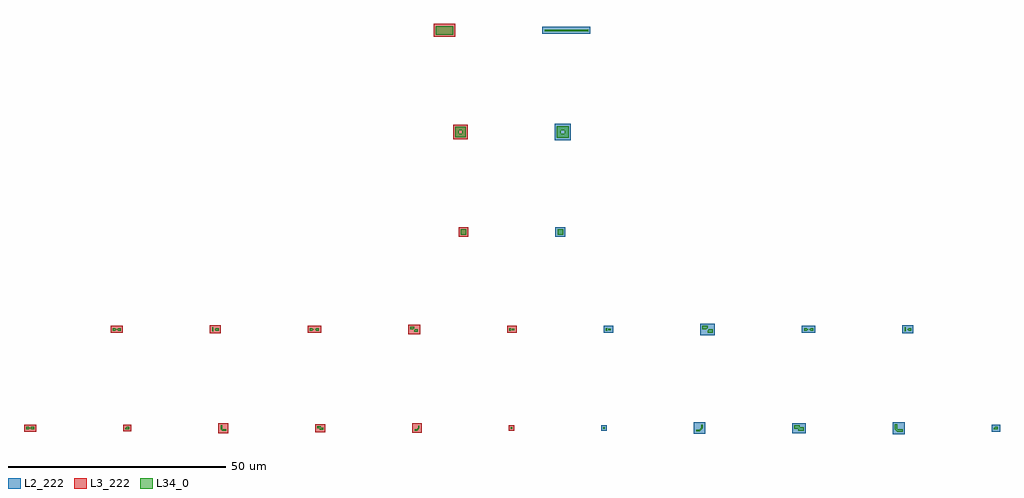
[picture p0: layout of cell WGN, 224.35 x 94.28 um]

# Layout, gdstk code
from math import pi, radians
import gdstk
lib = gdstk.Library(unit=1e-6, precision=1e-09)
def R(c, l, rs):  # rectangles x0, y0, x1, y1
    for r in rs: c.add(gdstk.rectangle(r[:2], r[2:], *l))
def P(c, l, *ps):  # polygons
    for p in ps: c.add(gdstk.Polygon(p, *l))
L2_222 = (2, 222)
L3_222 = (3, 222)
L34_0 = (34, 0)

compass_layerwgn_size0p3 = lib.new_cell('compass_layerWGN_size0p3__0p3')
R(compass_layerwgn_size0p3, L34_0, [(-0.15,-0.15,0.15,0.15)])

rectangle_layerwgn_size0 = lib.new_cell('rectangle_layerWGN_size0p3__0p3')
rectangle_layerwgn_size0.add(gdstk.Reference(compass_layerwgn_size0p3, (0.15,0.15)))

width_basic_width0_3_lay = lib.new_cell('width_basic_width0.3_layer_WGN')
width_basic_width0_3_lay.add(gdstk.Reference(rectangle_layerwgn_size0, (0,0)))

compass_be9f5536 = lib.new_cell('compass_be9f5536')
R(compass_be9f5536, L2_222, [(-0.65,-0.65,0.65,0.65)])

rectangle_be9f5536 = lib.new_cell('rectangle_be9f5536')
rectangle_be9f5536.add(gdstk.Reference(compass_be9f5536, (0.65,0.65)))

pass_fail_mk_92f51a65 = lib.new_cell('pass_fail_mk_92f51a65')
pass_fail_mk_92f51a65.add(gdstk.Reference(rectangle_be9f5536, (-0.5,-0.5)))
pass_fail_mk_92f51a65.add(gdstk.Label('WGN.W.1', (-0.25,-0.25), layer=11, texttype=222))

compass_layerwgn_size0p2 = lib.new_cell('compass_layerWGN_size0p29__0p29')
R(compass_layerwgn_size0p2, L34_0, [(-0.145,-0.145,0.145,0.145)])

c_rectangle_layerwgn_size0 = lib.new_cell('rectangle_layerWGN_size0p29__0p29')
c_rectangle_layerwgn_size0.add(gdstk.Reference(compass_layerwgn_size0p2, (0.145,0.145)))

width_basic_width0_29_la = lib.new_cell('width_basic_width0.29_layer_WGN')
width_basic_width0_29_la.add(gdstk.Reference(c_rectangle_layerwgn_size0, (0,0)))

compass_255b7973 = lib.new_cell('compass_255b7973')
R(compass_255b7973, L3_222, [(-0.645,-0.645,0.645,0.645)])

rectangle_255b7973 = lib.new_cell('rectangle_255b7973')
rectangle_255b7973.add(gdstk.Reference(compass_255b7973, (0.645,0.645)))

pass_fail_mk_c36563ad = lib.new_cell('pass_fail_mk_c36563ad')
pass_fail_mk_c36563ad.add(gdstk.Reference(rectangle_255b7973, (-0.5,-0.5)))
pass_fail_mk_c36563ad.add(gdstk.Label('WGN.W.1', (-0.25,-0.25), layer=11, texttype=222))

extrude_58d206cb = lib.new_cell('extrude_58d206cb')
P(extrude_58d206cb, L34_0, [(0,-0.2),(0.883,-0.2),(1.566,0.483),(1.566,1.366),(1.166,1.366),(1.166,0.649),(0.717,0.2),(0,0.2)])

width_45deg_width0_4_lay = lib.new_cell('width_45deg_width0.4_layer_WGN')
width_45deg_width0_4_lay.add(gdstk.Reference(extrude_58d206cb, (0,0)))

compass_e8d45a11 = lib.new_cell('compass_e8d45a11')
R(compass_e8d45a11, L2_222, [(-1.283,-1.283,1.283,1.283)])

rectangle_e8d45a11 = lib.new_cell('rectangle_e8d45a11')
rectangle_e8d45a11.add(gdstk.Reference(compass_e8d45a11, (1.283,1.283)))

pass_fail_mk_46c48a12 = lib.new_cell('pass_fail_mk_46c48a12')
pass_fail_mk_46c48a12.add(gdstk.Reference(rectangle_e8d45a11, (-0.5,-0.7)))
pass_fail_mk_46c48a12.add(gdstk.Label('WGN.W.1', (-0.25,-0.45), layer=11, texttype=222))

extrude_59e7992a = lib.new_cell('extrude_59e7992a')
P(extrude_59e7992a, L34_0, [(0,-0.145),(0.64,-0.145),(1.135,0.35),(1.135,0.99),(0.845,0.99),(0.845,0.47),(0.52,0.145),(0,0.145)])

width_45deg_width0_29_la = lib.new_cell('width_45deg_width0.29_layer_WGN')
width_45deg_width0_29_la.add(gdstk.Reference(extrude_59e7992a, (0,0)))

compass_589e3109 = lib.new_cell('compass_589e3109')
R(compass_589e3109, L3_222, [(-1.068,-1.068,1.068,1.068)])

rectangle_589e3109 = lib.new_cell('rectangle_589e3109')
rectangle_589e3109.add(gdstk.Reference(compass_589e3109, (1.067,1.067)))

pass_fail_mk_e6ad9358 = lib.new_cell('pass_fail_mk_e6ad9358')
pass_fail_mk_e6ad9358.add(gdstk.Reference(rectangle_589e3109, (-0.499,-0.644)))
pass_fail_mk_e6ad9358.add(gdstk.Label('WGN.W.1', (-0.25,-0.395), layer=11, texttype=222))

boolean_426b828f = lib.new_cell('boolean_426b828f')
P(boolean_426b828f, L34_0, [(1.2,0.8),(0.283,0.8),(0.283,1.317),(-0.917,1.317),(-0.917,0.517),(0,0.517),(0,0),(1.2,0)])

width_cor2cor_width0_4_l = lib.new_cell('width_cor2cor_width0.4_layer_WGN')
width_cor2cor_width0_4_l.add(gdstk.Reference(boolean_426b828f, (0,0)))

compass_4797e808 = lib.new_cell('compass_4797e808')
R(compass_4797e808, L2_222, [(-1.558,-1.158,1.558,1.158)])

rectangle_4797e808 = lib.new_cell('rectangle_4797e808')
rectangle_4797e808.add(gdstk.Reference(compass_4797e808, (1.558,1.159)))

pass_fail_mk_ebf29379 = lib.new_cell('pass_fail_mk_ebf29379')
pass_fail_mk_ebf29379.add(gdstk.Reference(rectangle_4797e808, (-1.417,-0.501)))
pass_fail_mk_ebf29379.add(gdstk.Label('WGN.W.1', (-1.166,-0.25), layer=11, texttype=222))

boolean_63637717 = lib.new_cell('boolean_63637717')
P(boolean_63637717, L34_0, [(0.75,0.5),(0.177,0.5),(0.177,0.823),(-0.573,0.823),(-0.573,0.323),(0,0.323),(0,0),(0.75,0)])

width_cor2cor_width0_25_ = lib.new_cell('width_cor2cor_width0.25_layer_WGN')
width_cor2cor_width0_25_.add(gdstk.Reference(boolean_63637717, (0,0)))

compass_1458ecf1 = lib.new_cell('compass_1458ecf1')
R(compass_1458ecf1, L3_222, [(-1.162,-0.912,1.162,0.912)])

rectangle_1458ecf1 = lib.new_cell('rectangle_1458ecf1')
rectangle_1458ecf1.add(gdstk.Reference(compass_1458ecf1, (1.161,0.911)))

pass_fail_mk_1ae89fab = lib.new_cell('pass_fail_mk_1ae89fab')
pass_fail_mk_1ae89fab.add(gdstk.Reference(rectangle_1458ecf1, (-1.073,-0.499)))
pass_fail_mk_1ae89fab.add(gdstk.Label('WGN.W.1', (-0.824,-0.25), layer=11, texttype=222))

boolean_e233a500 = lib.new_cell('boolean_e233a500')
R(boolean_e233a500, L34_0, [(0,-0.567,1.2,0), (-0.568,0,0,1.2)])
P(boolean_e233a500, L34_0, [(0,0),(-0.568,0),(-0.568,-0.004),(-0.567,-0.003),(-0.001,-0.568),(0,-0.568)])

width_cor_45deg_width0_4 = lib.new_cell('width_cor_45deg_width0.4_layer_WGN')
width_cor_45deg_width0_4.add(gdstk.Reference(boolean_e233a500, (0,0)))

compass_7145c64b = lib.new_cell('compass_7145c64b')
R(compass_7145c64b, L2_222, [(-1.384,-1.384,1.384,1.384)])

rectangle_7145c64b = lib.new_cell('rectangle_7145c64b')
rectangle_7145c64b.add(gdstk.Reference(compass_7145c64b, (1.384,1.384)))

pass_fail_mk_5f94fdfb = lib.new_cell('pass_fail_mk_5f94fdfb')
pass_fail_mk_5f94fdfb.add(gdstk.Reference(rectangle_7145c64b, (-1.068,-1.068)))
pass_fail_mk_5f94fdfb.add(gdstk.Label('WGN.W.1', (-0.818,-0.818), layer=11, texttype=222))

boolean_38c439fb = lib.new_cell('boolean_38c439fb')
R(boolean_38c439fb, L34_0, [(0,-0.412,0.87,0), (-0.412,0,0,0.87)])
P(boolean_38c439fb, L34_0, [(0,0),(-0.412,0),(-0.412,-0.003),(-0.411,-0.002),(-0.001,-0.412),(-0.001,-0.412),(0,-0.412)])

width_cor_45deg_width0_2 = lib.new_cell('width_cor_45deg_width0.29_layer_WGN')
width_cor_45deg_width0_2.add(gdstk.Reference(boolean_38c439fb, (0,0)))

compass_3de67bf9 = lib.new_cell('compass_3de67bf9')
R(compass_3de67bf9, L3_222, [(-1.141,-1.141,1.141,1.141)])

rectangle_3de67bf9 = lib.new_cell('rectangle_3de67bf9')
rectangle_3de67bf9.add(gdstk.Reference(compass_3de67bf9, (1.141,1.141)))

pass_fail_mk_f27d1ddd = lib.new_cell('pass_fail_mk_f27d1ddd')
pass_fail_mk_f27d1ddd.add(gdstk.Reference(rectangle_3de67bf9, (-0.912,-0.912)))
pass_fail_mk_f27d1ddd.add(gdstk.Label('WGN.W.1', (-0.662,-0.662), layer=11, texttype=222))

boolean_bdbb1d60 = lib.new_cell('boolean_bdbb1d60')
P(boolean_bdbb1d60, L34_0, [(0.9,0.6),(0.3,0.6),(0,0.3),(0,0),(0.9,0)])

width_cor_45deg_width0_3 = lib.new_cell('width_cor_45deg_width0.3_layer_WGN')
width_cor_45deg_width0_3.add(gdstk.Reference(boolean_bdbb1d60, (0,0)))

compass_9f054f90 = lib.new_cell('compass_9f054f90')
R(compass_9f054f90, L2_222, [(-0.95,-0.8,0.95,0.8)])

rectangle_9f054f90 = lib.new_cell('rectangle_9f054f90')
rectangle_9f054f90.add(gdstk.Reference(compass_9f054f90, (0.95,0.8)))

pass_fail_mk_84d2e2e7 = lib.new_cell('pass_fail_mk_84d2e2e7')
pass_fail_mk_84d2e2e7.add(gdstk.Reference(rectangle_9f054f90, (-0.5,-0.5)))
pass_fail_mk_84d2e2e7.add(gdstk.Label('WGN.W.1', (-0.25,-0.25), layer=11, texttype=222))

boolean_757ea1c0 = lib.new_cell('boolean_757ea1c0')
P(boolean_757ea1c0, L34_0, [(0.87,0.58),(0.29,0.58),(0,0.29),(0,0),(0.87,0)])

c_width_cor_45deg_width0_2 = lib.new_cell('width_cor_45deg_width0.29_layer_WGN$1')
c_width_cor_45deg_width0_2.add(gdstk.Reference(boolean_757ea1c0, (0,0)))

compass_0d8fa47e = lib.new_cell('compass_0d8fa47e')
R(compass_0d8fa47e, L3_222, [(-0.935,-0.79,0.935,0.79)])

rectangle_0d8fa47e = lib.new_cell('rectangle_0d8fa47e')
rectangle_0d8fa47e.add(gdstk.Reference(compass_0d8fa47e, (0.935,0.79)))

pass_fail_mk_3a478260 = lib.new_cell('pass_fail_mk_3a478260')
pass_fail_mk_3a478260.add(gdstk.Reference(rectangle_0d8fa47e, (-0.5,-0.5)))
pass_fail_mk_3a478260.add(gdstk.Label('WGN.W.1', (-0.25,-0.25), layer=11, texttype=222))

boolean_c20ceb29 = lib.new_cell('boolean_c20ceb29')
P(boolean_c20ceb29, L34_0, [(0.6,0.6),(0,0.6),(0,0.6),(-0.3,0.3),(0,0),(0,0),(0.6,0)])

width_singular_width0_3_ = lib.new_cell('width_singular_width0.3_layer_WGN')
width_singular_width0_3_.add(gdstk.Reference(boolean_c20ceb29, (0,0)))
width_singular_width0_3_.add(gdstk.Reference(boolean_c20ceb29, (-0.6,0.6), rotation=pi))

compass_d99c9862 = lib.new_cell('compass_d99c9862')
R(compass_d99c9862, L3_222, [(-1.4,-0.8,1.4,0.8)])

rectangle_d99c9862 = lib.new_cell('rectangle_d99c9862')
rectangle_d99c9862.add(gdstk.Reference(compass_d99c9862, (1.4,0.8)))

pass_fail_mk_ae484757 = lib.new_cell('pass_fail_mk_ae484757')
pass_fail_mk_ae484757.add(gdstk.Reference(rectangle_d99c9862, (-1.7,-0.5)))
pass_fail_mk_ae484757.add(gdstk.Label('WGN.W.1', (-1.45,-0.25), layer=11, texttype=222))

width_patterns_width0_3_ = lib.new_cell('width_patterns_width0.3_layerWGN')
width_patterns_width0_3_.add(gdstk.Reference(width_basic_width0_3_lay, (0,0)))
width_patterns_width0_3_.add(gdstk.Reference(pass_fail_mk_92f51a65, (0,0)))
width_patterns_width0_3_.add(gdstk.Reference(width_basic_width0_29_la, (-21.29,0.005)))
width_patterns_width0_3_.add(gdstk.Reference(pass_fail_mk_c36563ad, (-21.29,0.005)))
width_patterns_width0_3_.add(gdstk.Reference(width_45deg_width0_4_lay, (21.3,-0.433)))
width_patterns_width0_3_.add(gdstk.Reference(pass_fail_mk_46c48a12, (21.3,-0.433)))
width_patterns_width0_3_.add(gdstk.Reference(width_45deg_width0_29_la, (-43.426,-0.273)))
width_patterns_width0_3_.add(gdstk.Reference(pass_fail_mk_e6ad9358, (-43.426,-0.273)))
width_patterns_width0_3_.add(gdstk.Reference(width_cor2cor_width0_4_l, (44.782,-0.508)))
width_patterns_width0_3_.add(gdstk.Reference(pass_fail_mk_ebf29379, (44.783,-0.508)))
width_patterns_width0_3_.add(gdstk.Reference(width_cor2cor_width0_25_, (-65.176,-0.261)))
width_patterns_width0_3_.add(gdstk.Reference(pass_fail_mk_1ae89fab, (-65.177,-0.262)))
width_patterns_width0_3_.add(gdstk.Reference(width_cor_45deg_width0_4, (67.55,-0.166)))
width_patterns_width0_3_.add(gdstk.Reference(pass_fail_mk_5f94fdfb, (67.55,-0.166)))
width_patterns_width0_3_.add(gdstk.Reference(width_cor_45deg_width0_2, (-87.62,-0.079)))
width_patterns_width0_3_.add(gdstk.Reference(pass_fail_mk_f27d1ddd, (-87.62,-0.079)))
width_patterns_width0_3_.add(gdstk.Reference(width_cor_45deg_width0_3, (89.75,-0.15)))
width_patterns_width0_3_.add(gdstk.Reference(pass_fail_mk_84d2e2e7, (89.75,-0.15)))
width_patterns_width0_3_.add(gdstk.Reference(c_width_cor_45deg_width0_2, (-109.902,-0.14)))
width_patterns_width0_3_.add(gdstk.Reference(pass_fail_mk_3a478260, (-109.902,-0.14)))
width_patterns_width0_3_.add(gdstk.Reference(width_singular_width0_3_, (-131.502,-0.15)))
width_patterns_width0_3_.add(gdstk.Reference(pass_fail_mk_ae484757, (-131.502,-0.15)))

c_compass_layerwgn_size0p3 = lib.new_cell('compass_layerWGN_size0p3__0p6')
R(c_compass_layerwgn_size0p3, L34_0, [(-0.15,-0.3,0.15,0.3)])

c_rectangle_layerwgn_size0_ = lib.new_cell('rectangle_layerWGN_size0p3__0p6')
c_rectangle_layerwgn_size0_.add(gdstk.Reference(c_compass_layerwgn_size0p3, (0.15,0.3)))

compass_layerwgn_size0p6 = lib.new_cell('compass_layerWGN_size0p6__0p3')
R(compass_layerwgn_size0p6, L34_0, [(-0.3,-0.15,0.3,0.15)])

c_rectangle_layerwgn_size0__ = lib.new_cell('rectangle_layerWGN_size0p6__0p3')
c_rectangle_layerwgn_size0__.add(gdstk.Reference(compass_layerwgn_size0p6, (0.3,0.15)))

space_basic_spacing0_3_l = lib.new_cell('space_basic_spacing0.3_layer1WGN_layer2WGN')
space_basic_spacing0_3_l.add(gdstk.Reference(c_rectangle_layerwgn_size0_, (-0.3,0.45), rotation=pi))
space_basic_spacing0_3_l.add(gdstk.Reference(c_rectangle_layerwgn_size0__, (0,0)))

compass_4018c789 = lib.new_cell('compass_4018c789')
R(compass_4018c789, L2_222, [(-1.1,-0.8,1.1,0.8)])

rectangle_4018c789 = lib.new_cell('rectangle_4018c789')
rectangle_4018c789.add(gdstk.Reference(compass_4018c789, (1.1,0.8)))

pass_fail_mk_1955d89a = lib.new_cell('pass_fail_mk_1955d89a')
pass_fail_mk_1955d89a.add(gdstk.Reference(rectangle_4018c789, (-1.1,-0.65)))
pass_fail_mk_1955d89a.add(gdstk.Label('WGN.S.1', (-0.85,-0.4), layer=11, texttype=222))

space_basic_spacing0_29_ = lib.new_cell('space_basic_spacing0.29_layer1WGN_layer2WGN')
space_basic_spacing0_29_.add(gdstk.Reference(c_rectangle_layerwgn_size0_, (-0.29,0.45), rotation=pi))
space_basic_spacing0_29_.add(gdstk.Reference(c_rectangle_layerwgn_size0__, (0,0)))

compass_1074acef = lib.new_cell('compass_1074acef')
R(compass_1074acef, L3_222, [(-1.095,-0.8,1.095,0.8)])

rectangle_1074acef = lib.new_cell('rectangle_1074acef')
rectangle_1074acef.add(gdstk.Reference(compass_1074acef, (1.095,0.8)))

pass_fail_mk_95f7a72b = lib.new_cell('pass_fail_mk_95f7a72b')
pass_fail_mk_95f7a72b.add(gdstk.Reference(rectangle_1074acef, (-1.09,-0.65)))
pass_fail_mk_95f7a72b.add(gdstk.Label('WGN.S.1', (-0.84,-0.4), layer=11, texttype=222))

boolean_cd80cdc5 = lib.new_cell('boolean_cd80cdc5')
P(boolean_cd80cdc5, L34_0, [(1.2,0.8),(0.284,0.8),(0,0.516),(0,0),(1.2,0)])

space_45deg_spacing0_4_l = lib.new_cell('space_45deg_spacing0.4_layer1WGN_layer2WGN')
space_45deg_spacing0_4_l.add(gdstk.Reference(boolean_cd80cdc5, (0,0)))
space_45deg_spacing0_4_l.add(gdstk.Reference(boolean_cd80cdc5, (0,1.6), rotation=pi))

compass_c9f201b6 = lib.new_cell('compass_c9f201b6')
R(compass_c9f201b6, L2_222, [(-1.7,-1.3,1.7,1.3)])

rectangle_c9f201b6 = lib.new_cell('rectangle_c9f201b6')
rectangle_c9f201b6.add(gdstk.Reference(compass_c9f201b6, (1.7,1.3)))

pass_fail_mk_6be51269 = lib.new_cell('pass_fail_mk_6be51269')
pass_fail_mk_6be51269.add(gdstk.Reference(rectangle_c9f201b6, (-1.7,-0.5)))
pass_fail_mk_6be51269.add(gdstk.Label('WGN.S.1', (-1.45,-0.25), layer=11, texttype=222))

boolean_060ad696 = lib.new_cell('boolean_060ad696')
P(boolean_060ad696, L34_0, [(0.87,0.58),(0.206,0.58),(0,0.374),(0,0),(0.87,0)])

space_45deg_spacing0_29_ = lib.new_cell('space_45deg_spacing0.29_layer1WGN_layer2WGN')
space_45deg_spacing0_29_.add(gdstk.Reference(boolean_060ad696, (0,0)))
space_45deg_spacing0_29_.add(gdstk.Reference(boolean_060ad696, (0,1.16), rotation=pi))

compass_d7d6c63a = lib.new_cell('compass_d7d6c63a')
R(compass_d7d6c63a, L3_222, [(-1.37,-1.08,1.37,1.08)])

rectangle_d7d6c63a = lib.new_cell('rectangle_d7d6c63a')
rectangle_d7d6c63a.add(gdstk.Reference(compass_d7d6c63a, (1.37,1.08)))

pass_fail_mk_0ae41ca8 = lib.new_cell('pass_fail_mk_0ae41ca8')
pass_fail_mk_0ae41ca8.add(gdstk.Reference(rectangle_d7d6c63a, (-1.37,-0.5)))
pass_fail_mk_0ae41ca8.add(gdstk.Label('WGN.S.1', (-1.12,-0.25), layer=11, texttype=222))

boolean_88f8fa6e = lib.new_cell('boolean_88f8fa6e')
P(boolean_88f8fa6e, L34_0, [(0.6,0.6),(0,0.6),(0,0.6),(-0.3,0.3),(0,0),(0,0),(0.6,0)])

space_cor2cor_spacing0_3 = lib.new_cell('space_cor2cor_spacing0.3_layer1WGN_layer2WGN')
space_cor2cor_spacing0_3.add(gdstk.Reference(boolean_c20ceb29, (0,0)))
space_cor2cor_spacing0_3.add(gdstk.Reference(boolean_88f8fa6e, (-0.9,0.6), rotation=pi))

compass_db96e7d1 = lib.new_cell('compass_db96e7d1')
R(compass_db96e7d1, L2_222, [(-1.55,-0.8,1.55,0.8)])

rectangle_db96e7d1 = lib.new_cell('rectangle_db96e7d1')
rectangle_db96e7d1.add(gdstk.Reference(compass_db96e7d1, (1.55,0.8)))

pass_fail_mk_a0e1ce64 = lib.new_cell('pass_fail_mk_a0e1ce64')
pass_fail_mk_a0e1ce64.add(gdstk.Reference(rectangle_db96e7d1, (-2,-0.5)))
pass_fail_mk_a0e1ce64.add(gdstk.Label('WGN.S.1', (-1.75,-0.25), layer=11, texttype=222))

space_cor2cor_spacing0_2 = lib.new_cell('space_cor2cor_spacing0.29_layer1WGN_layer2WGN')
space_cor2cor_spacing0_2.add(gdstk.Reference(boolean_c20ceb29, (0,0)))
space_cor2cor_spacing0_2.add(gdstk.Reference(boolean_88f8fa6e, (-0.89,0.6), rotation=pi))

compass_20e062bb = lib.new_cell('compass_20e062bb')
R(compass_20e062bb, L3_222, [(-1.545,-0.8,1.545,0.8)])

rectangle_20e062bb = lib.new_cell('rectangle_20e062bb')
rectangle_20e062bb.add(gdstk.Reference(compass_20e062bb, (1.545,0.8)))

pass_fail_mk_db5da94c = lib.new_cell('pass_fail_mk_db5da94c')
pass_fail_mk_db5da94c.add(gdstk.Reference(rectangle_20e062bb, (-1.99,-0.5)))
pass_fail_mk_db5da94c.add(gdstk.Label('WGN.S.1', (-1.74,-0.25), layer=11, texttype=222))

c_compass_layerwgn_size0p3_ = lib.new_cell('compass_layerWGN_size0p3__0p9')
R(c_compass_layerwgn_size0p3_, L34_0, [(-0.15,-0.45,0.15,0.45)])

c_rectangle_layerwgn_size0___ = lib.new_cell('rectangle_layerWGN_size0p3__0p9')
c_rectangle_layerwgn_size0___.add(gdstk.Reference(c_compass_layerwgn_size0p3_, (0.15,0.45)))

space_cor2edge_spacing0_ = lib.new_cell('space_cor2edge_spacing0.3_layer1WGN_layer2WGN')
space_cor2edge_spacing0_.add(gdstk.Reference(c_rectangle_layerwgn_size0___, (-0.9,-0.15)))
space_cor2edge_spacing0_.add(gdstk.Reference(boolean_c20ceb29, (0,0)))

compass_fe83cbed = lib.new_cell('compass_fe83cbed')
R(compass_fe83cbed, L2_222, [(-1.25,-0.95,1.25,0.95)])

rectangle_fe83cbed = lib.new_cell('rectangle_fe83cbed')
rectangle_fe83cbed.add(gdstk.Reference(compass_fe83cbed, (1.25,0.95)))

pass_fail_mk_e16f3a29 = lib.new_cell('pass_fail_mk_e16f3a29')
pass_fail_mk_e16f3a29.add(gdstk.Reference(rectangle_fe83cbed, (-1.4,-0.65)))
pass_fail_mk_e16f3a29.add(gdstk.Label('WGN.S.1', (-1.15,-0.4), layer=11, texttype=222))

c_space_cor2edge_spacing0_ = lib.new_cell('space_cor2edge_spacing0.29_layer1WGN_layer2WGN')
c_space_cor2edge_spacing0_.add(gdstk.Reference(c_rectangle_layerwgn_size0___, (-0.89,-0.15)))
c_space_cor2edge_spacing0_.add(gdstk.Reference(boolean_c20ceb29, (0,0)))

compass_26f128dd = lib.new_cell('compass_26f128dd')
R(compass_26f128dd, L3_222, [(-1.245,-0.95,1.245,0.95)])

rectangle_26f128dd = lib.new_cell('rectangle_26f128dd')
rectangle_26f128dd.add(gdstk.Reference(compass_26f128dd, (1.245,0.95)))

pass_fail_mk_5a961c67 = lib.new_cell('pass_fail_mk_5a961c67')
pass_fail_mk_5a961c67.add(gdstk.Reference(rectangle_26f128dd, (-1.39,-0.65)))
pass_fail_mk_5a961c67.add(gdstk.Label('WGN.S.1', (-1.14,-0.4), layer=11, texttype=222))

space_singular_layer1wgn = lib.new_cell('space_singular_layer1WGN_layer2WGN')
space_singular_layer1wgn.add(gdstk.Reference(boolean_c20ceb29, (0,0)))
space_singular_layer1wgn.add(gdstk.Reference(boolean_c20ceb29, (-0.6,0.6), rotation=pi))

pass_fail_mk_8c09cfb1 = lib.new_cell('pass_fail_mk_8c09cfb1')
pass_fail_mk_8c09cfb1.add(gdstk.Reference(rectangle_d99c9862, (-1.7,-0.5)))
pass_fail_mk_8c09cfb1.add(gdstk.Label('WGN.S.1', (-1.45,-0.25), layer=11, texttype=222))

space_patterns_width0_3_ = lib.new_cell('space_patterns_width0.3_layer1WGN_layer2WGN')
space_patterns_width0_3_.add(gdstk.Reference(space_basic_spacing0_3_l, (0,0)))
space_patterns_width0_3_.add(gdstk.Reference(pass_fail_mk_1955d89a, (0,0)))
space_patterns_width0_3_.add(gdstk.Reference(space_basic_spacing0_29_, (-22.2,0)))
space_patterns_width0_3_.add(gdstk.Reference(pass_fail_mk_95f7a72b, (-22.2,0)))
space_patterns_width0_3_.add(gdstk.Reference(space_45deg_spacing0_4_l, (22.8,-0.65)))
space_patterns_width0_3_.add(gdstk.Reference(pass_fail_mk_6be51269, (22.8,-0.65)))
space_patterns_width0_3_.add(gdstk.Reference(space_45deg_spacing0_29_, (-44.66,-0.43)))
space_patterns_width0_3_.add(gdstk.Reference(pass_fail_mk_0ae41ca8, (-44.66,-0.43)))
space_patterns_width0_3_.add(gdstk.Reference(space_cor2cor_spacing0_3, (46.5,-0.15)))
space_patterns_width0_3_.add(gdstk.Reference(pass_fail_mk_a0e1ce64, (46.5,-0.15)))
space_patterns_width0_3_.add(gdstk.Reference(space_cor2cor_spacing0_2, (-67.13,-0.15)))
space_patterns_width0_3_.add(gdstk.Reference(pass_fail_mk_db5da94c, (-67.13,-0.15)))
space_patterns_width0_3_.add(gdstk.Reference(space_cor2edge_spacing0_, (69,-0.15)))
space_patterns_width0_3_.add(gdstk.Reference(pass_fail_mk_e16f3a29, (69,-0.15)))
space_patterns_width0_3_.add(gdstk.Reference(c_space_cor2edge_spacing0_, (-90.22,-0.15)))
space_patterns_width0_3_.add(gdstk.Reference(pass_fail_mk_5a961c67, (-90.22,-0.15)))
space_patterns_width0_3_.add(gdstk.Reference(space_singular_layer1wgn, (-112.71,-0.15)))
space_patterns_width0_3_.add(gdstk.Reference(pass_fail_mk_8c09cfb1, (-112.71,-0.15)))

compass_799084ce = lib.new_cell('compass_799084ce')
R(compass_799084ce, L34_0, [(-0.614,-0.614,0.614,0.614)])

rectangle_799084ce = lib.new_cell('rectangle_799084ce')
rectangle_799084ce.add(gdstk.Reference(compass_799084ce, (0.615,0.615)))

area_basic_area1_51_laye = lib.new_cell('area_basic_area1.51_layerWGN')
area_basic_area1_51_laye.add(gdstk.Reference(rectangle_799084ce, (0,0)))

compass_764c1ef9 = lib.new_cell('compass_764c1ef9')
R(compass_764c1ef9, L2_222, [(-1.114,-1.114,1.114,1.114)])

rectangle_764c1ef9 = lib.new_cell('rectangle_764c1ef9')
rectangle_764c1ef9.add(gdstk.Reference(compass_764c1ef9, (1.114,1.114)))

pass_fail_mk_b94fbc98 = lib.new_cell('pass_fail_mk_b94fbc98')
pass_fail_mk_b94fbc98.add(gdstk.Reference(rectangle_764c1ef9, (-0.499,-0.499)))
pass_fail_mk_b94fbc98.add(gdstk.Label('WGN.A.1', (-0.249,-0.249), layer=11, texttype=222))

compass_1fc877e1 = lib.new_cell('compass_1fc877e1')
R(compass_1fc877e1, L34_0, [(-0.612,-0.612,0.612,0.612)])

rectangle_1fc877e1 = lib.new_cell('rectangle_1fc877e1')
rectangle_1fc877e1.add(gdstk.Reference(compass_1fc877e1, (0.612,0.612)))

area_basic_area1_499_lay = lib.new_cell('area_basic_area1.499_layerWGN')
area_basic_area1_499_lay.add(gdstk.Reference(rectangle_1fc877e1, (0,0)))

compass_3e6423ee = lib.new_cell('compass_3e6423ee')
R(compass_3e6423ee, L3_222, [(-1.112,-1.112,1.112,1.112)])

rectangle_3e6423ee = lib.new_cell('rectangle_3e6423ee')
rectangle_3e6423ee.add(gdstk.Reference(compass_3e6423ee, (1.112,1.112)))

pass_fail_mk_fba9fa38 = lib.new_cell('pass_fail_mk_fba9fa38')
pass_fail_mk_fba9fa38.add(gdstk.Reference(rectangle_3e6423ee, (-0.5,-0.5)))
pass_fail_mk_fba9fa38.add(gdstk.Label('WGN.A.1', (-0.25,-0.25), layer=11, texttype=222))

area_patterns_area1_5_la = lib.new_cell('area_patterns_area1.5_layerWGN')
area_patterns_area1_5_la.add(gdstk.Reference(area_basic_area1_51_laye, (0,0)))
area_patterns_area1_5_la.add(gdstk.Reference(pass_fail_mk_b94fbc98, (0,0)))
area_patterns_area1_5_la.add(gdstk.Reference(area_basic_area1_499_lay, (-22.223,0.003)))
area_patterns_area1_5_la.add(gdstk.Reference(pass_fail_mk_fba9fa38, (-22.223,0.003)))

boolean_1ace7793 = lib.new_cell('boolean_1ace7793')
P(boolean_1ace7793, L34_0, [(1.788,1.788),(-0.894,1.788),(-0.894,0),(0,0),(0,0.894),(0.894,0.894),(0.894,0),(0,0),(-0.894,0),(-0.894,-0.894),(1.788,-0.894)])

compass_4a718773 = lib.new_cell('compass_4a718773')
R(compass_4a718773, L2_222, [(-1.841,-1.841,1.841,1.841)])

rectangle_4a718773 = lib.new_cell('rectangle_4a718773')
rectangle_4a718773.add(gdstk.Reference(compass_4a718773, (1.841,1.841)))

pass_fail_mk_2a68e750 = lib.new_cell('pass_fail_mk_2a68e750')
pass_fail_mk_2a68e750.add(gdstk.Reference(rectangle_4a718773, (-1.394,-1.394)))
pass_fail_mk_2a68e750.add(gdstk.Label('WGN.A.2', (-1.144,-1.144), layer=11, texttype=222))

boolean_4efce027 = lib.new_cell('boolean_4efce027')
P(boolean_4efce027, L34_0, [(1.548,1.548),(-0.776,1.548),(-0.776,0),(0,0),(0,0.776),(0.776,0.776),(0.776,0),(0,0),(-0.776,0),(-0.776,-0.776),(1.548,-0.776)])

compass_40bc0c21 = lib.new_cell('compass_40bc0c21')
R(compass_40bc0c21, L3_222, [(-1.662,-1.662,1.662,1.662)])

rectangle_40bc0c21 = lib.new_cell('rectangle_40bc0c21')
rectangle_40bc0c21.add(gdstk.Reference(compass_40bc0c21, (1.662,1.662)))

pass_fail_mk_5b2e2845 = lib.new_cell('pass_fail_mk_5b2e2845')
pass_fail_mk_5b2e2845.add(gdstk.Reference(rectangle_40bc0c21, (-1.276,-1.276)))
pass_fail_mk_5b2e2845.add(gdstk.Label('WGN.A.2', (-1.026,-1.026), layer=11, texttype=222))

enclosed_area_patterns_a = lib.new_cell('enclosed_area_patterns_area0.7_layerWGN')
enclosed_area_patterns_a.add(gdstk.Reference(boolean_1ace7793, (0,0)))
enclosed_area_patterns_a.add(gdstk.Reference(pass_fail_mk_2a68e750, (0,0)))
enclosed_area_patterns_a.add(gdstk.Reference(boolean_4efce027, (-23.442,0.061)))
enclosed_area_patterns_a.add(gdstk.Reference(pass_fail_mk_5b2e2845, (-23.442,0.061)))

taper_b240768d = lib.new_cell('taper_b240768d')
P(taper_b240768d, L34_0, [(0,0.15),(10,0.3),(10,-0.3),(0,-0.15)])

compass_595c5d8d = lib.new_cell('compass_595c5d8d')
R(compass_595c5d8d, L2_222, [(-5.5,-0.8,5.5,0.8)])

rectangle_595c5d8d = lib.new_cell('rectangle_595c5d8d')
rectangle_595c5d8d.add(gdstk.Reference(compass_595c5d8d, (5.5,0.8)))

pass_fail_mk_75028cc5 = lib.new_cell('pass_fail_mk_75028cc5')
pass_fail_mk_75028cc5.add(gdstk.Reference(rectangle_595c5d8d, (-0.5,-0.8)))
pass_fail_mk_75028cc5.add(gdstk.Label('WGN.AN.1', (-0.25,-0.55), layer=11, texttype=222))

compass_layerwgn = lib.new_cell('compass_layerWGN')
R(compass_layerwgn, L34_0, [(-2,-1,2,1)])

rectangle_layerwgn = lib.new_cell('rectangle_layerWGN')
rectangle_layerwgn.add(gdstk.Reference(compass_layerwgn, (2,1)))

compass_589a04ce = lib.new_cell('compass_589a04ce')
R(compass_589a04ce, L3_222, [(-2.5,-1.5,2.5,1.5)])

rectangle_589a04ce = lib.new_cell('rectangle_589a04ce')
rectangle_589a04ce.add(gdstk.Reference(compass_589a04ce, (2.5,1.5)))

pass_fail_mk_ed10eb6f = lib.new_cell('pass_fail_mk_ed10eb6f')
pass_fail_mk_ed10eb6f.add(gdstk.Reference(rectangle_589a04ce, (-0.5,-0.5)))
pass_fail_mk_ed10eb6f.add(gdstk.Label('WGN.AN.1', (-0.25,-0.25), layer=11, texttype=222))

angle_patterns_angle_lay = lib.new_cell('angle_patterns_angle_layerWGN')
angle_patterns_angle_lay.add(gdstk.Reference(taper_b240768d, (0,0)))
angle_patterns_angle_lay.add(gdstk.Reference(pass_fail_mk_75028cc5, (0,0)))
angle_patterns_angle_lay.add(gdstk.Reference(rectangle_layerwgn, (-25,-1)))
angle_patterns_angle_lay.add(gdstk.Reference(pass_fail_mk_ed10eb6f, (-25,-1)))

wgn = lib.new_cell('WGN')
wgn.add(gdstk.Reference(width_patterns_width0_3_, (0,0)))
wgn.add(gdstk.Reference(space_patterns_width0_3_, (1.129,22.684)))
wgn.add(gdstk.Reference(area_patterns_area1_5_la, (-10.529,44.633)))
wgn.add(gdstk.Reference(enclosed_area_patterns_a, (-9.811,67.756)))
wgn.add(gdstk.Reference(angle_patterns_angle_lay, (-13.526,91.544)))

lib.write_gds('WGN.gds')
